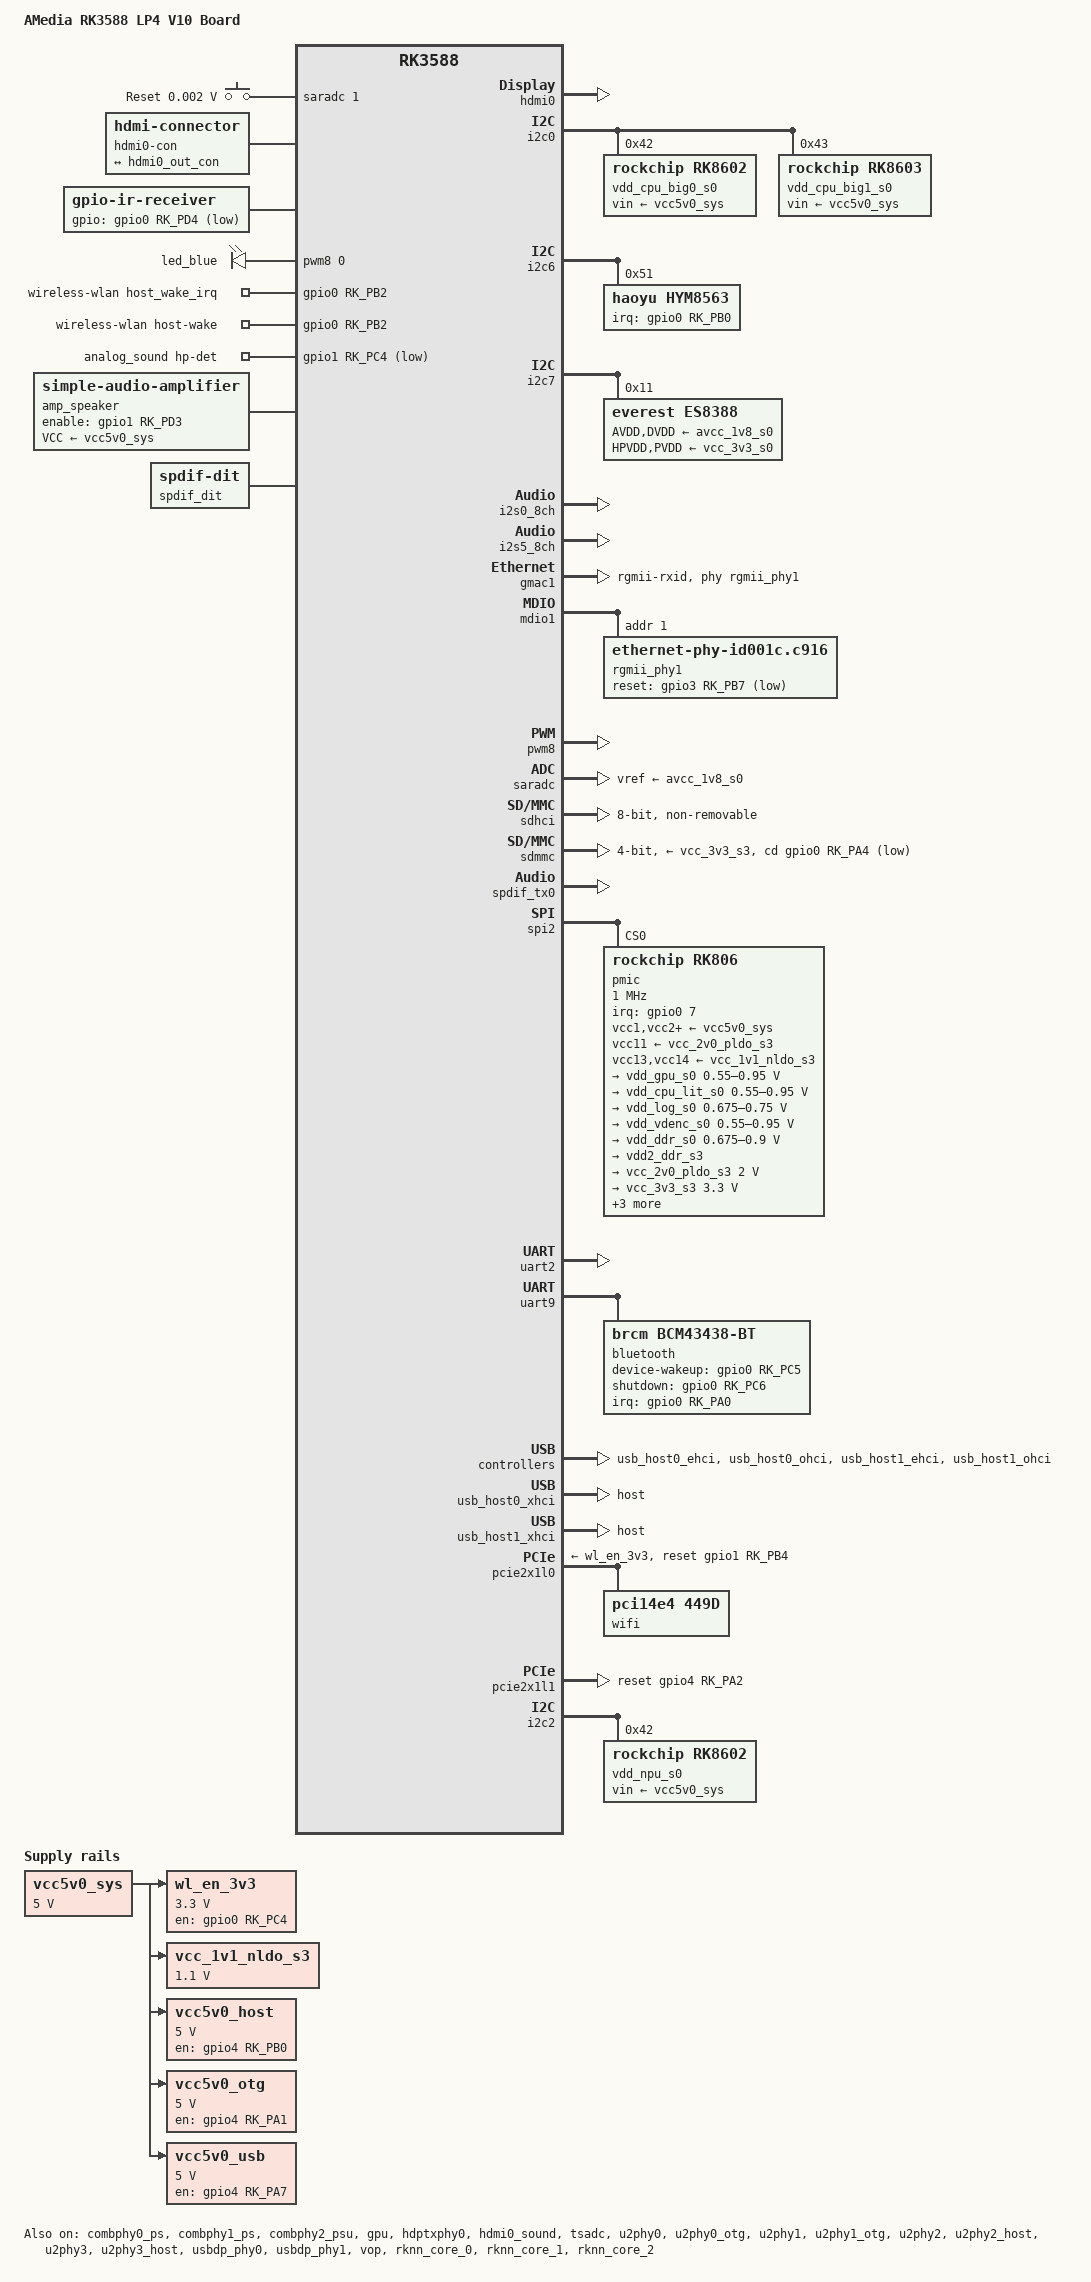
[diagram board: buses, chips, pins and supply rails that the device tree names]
// SPDX-License-Identifier: (GPL-2.0+ OR MIT)

/dts-v1/;

#include <dt-bindings/gpio/gpio.h>
#include <dt-bindings/input/input.h>
#include <dt-bindings/leds/common.h>
#include <dt-bindings/soc/rockchip,vop2.h>
#include "rk3588.dtsi"

/ {
	model = "AMedia RK3588 LP4 V10 Board";
	compatible = "amedia,rk3588-lp4-v10", "rockchip,rk3588";

	aliases {
		ethernet0 = &gmac0;
		ethernet1 = &gmac1;
		mmc0 = &sdhci;
		mmc1 = &sdmmc;
	};

	adc-keys {
		compatible = "adc-keys";
		io-channels = <&saradc 1>;
		io-channel-names = "buttons";
		keyup-threshold-microvolt = <1800000>;
		poll-interval = <100>;

		button-function {
			label = "Reset";
			linux,code = <KEY_VENDOR>;
			press-threshold-microvolt = <1750>;
		};
	};

	chosen {
		bootargs = "earlycon=uart8250,mmio32,0xfeb50000 console=ttyS2,1500000n8 console=tty1 rw rootwait root=PARTUUID=614e0000-0000-4b53-8000-1d28000054a9 cgroup_enable=cpuset cgroup_memory=1 cgroup_enable=memory swapaccount=1 net.ifnames=0";
		stdout-path = "serial2:1500000n8";
	};

	hdmi0-con {
		compatible = "hdmi-connector";
		type = "a";

		port {
			hdmi0_con_in: endpoint {
				remote-endpoint = <&hdmi0_out_con>;
			};
		};
	};

	ir-receiver {
		compatible = "gpio-ir-receiver";
		gpios = <&gpio0 RK_PD4 GPIO_ACTIVE_LOW>;
		pinctrl-names = "default";
		pinctrl-0 = <&ir_receiver_pin>;
	};

	pwmleds {
		compatible = "pwm-leds";

		pwm_blue {
			label = "led_blue";
			pwms = <&pwm8 0 21000 0>;
			max-brightness = <255>;
			linux,default-trigger = "heartbeat";
		};
	};

	wl_en_3v3: regulator-3v3-wlen {
		compatible = "regulator-fixed";
		enable-active-high;
		gpios = <&gpio0 RK_PC4 GPIO_ACTIVE_HIGH>;
		pinctrl-0 = <&wl_en>;
		pinctrl-names = "default";
		regulator-always-on;
		regulator-boot-on;
		regulator-name = "wl_en_3v3";
		regulator-min-microvolt = <3300000>;
		regulator-max-microvolt = <3300000>;
		startup-delay-us = <200000>;
		vin-supply = <&vcc5v0_sys>;
	};

	vcc_1v1_nldo_s3: regulator-1v1 {
		compatible = "regulator-fixed";
		regulator-name = "vcc_1v1_nldo_s3";
		regulator-always-on;
		regulator-boot-on;
		regulator-min-microvolt = <1100000>;
		regulator-max-microvolt = <1100000>;
		vin-supply = <&vcc5v0_sys>;
	};

	vcc5v0_host: regulator-5v0-host {
		compatible = "regulator-fixed";
		regulator-name = "vcc5v0_host";
		regulator-always-on;
		regulator-boot-on;
		regulator-min-microvolt = <5000000>;
		regulator-max-microvolt = <5000000>;
		enable-active-high;
		gpios = <&gpio4 RK_PB0 GPIO_ACTIVE_HIGH>;
		pinctrl-0 = <&vcc5v0_host_en>;
		pinctrl-names = "default";
		vin-supply = <&vcc5v0_sys>;
	};

	vcc5v0_otg: regulator-5v0-otg {
		compatible = "regulator-fixed";
		regulator-name = "vcc5v0_otg";
		regulator-always-on;
		regulator-boot-on;
		regulator-min-microvolt = <5000000>;
		regulator-max-microvolt = <5000000>;
		enable-active-high;
		gpios = <&gpio4 RK_PA1 GPIO_ACTIVE_HIGH>;
		pinctrl-0 = <&vcc5v0_otg_en>;
		pinctrl-names = "default";
		vin-supply = <&vcc5v0_sys>;
	};

	vcc5v0_usb: regulator-5v0-usb {
		compatible = "regulator-fixed";
		regulator-name = "vcc5v0_usb";
		regulator-always-on;
		regulator-boot-on;
		regulator-min-microvolt = <5000000>;
		regulator-max-microvolt = <5000000>;
		enable-active-high;
		gpios = <&gpio4 RK_PA7 GPIO_ACTIVE_HIGH>;
		pinctrl-0 = <&vcc5v0_usb_en>;
		pinctrl-names = "default";
		vin-supply = <&vcc5v0_sys>;
	};

	/* Consumed by the vendor bcmdhd driver (kernel-extra/); brcmfmac ignores it. */
	wireless-wlan {
		compatible = "wlan-platdata";
		wifi_chip_type = "ap6275p";
		pinctrl-names = "default";
		pinctrl-0 = <&wl_wake_host>;
		WIFI,host_wake_irq = <&gpio0 RK_PB2 GPIO_ACTIVE_HIGH>;
		host-wake-gpios = <&gpio0 RK_PB2 GPIO_ACTIVE_HIGH>;
		status = "okay";
	};

	vcc5v0_sys: regulator-5v0-sys {
		compatible = "regulator-fixed";
		regulator-name = "vcc5v0_sys";
		regulator-always-on;
		regulator-boot-on;
		regulator-min-microvolt = <5000000>;
		regulator-max-microvolt = <5000000>;
	};

	analog_sound: analog-sound {
		compatible = "simple-audio-card";
		pinctrl-names = "default";
		pinctrl-0 = <&hp_det>;
		simple-audio-card,name = "rockchip-es8388";
		simple-audio-card,aux-devs = <&amp_speaker>;
		simple-audio-card,format = "i2s";
		simple-audio-card,hp-det-gpios = <&gpio1 RK_PC4 GPIO_ACTIVE_LOW>;
		simple-audio-card,mclk-fs = <256>;
		simple-audio-card,pin-switches = "Headphones", "Speaker";
		simple-audio-card,routing =
			"Speaker Amplifier INL", "LOUT2",
			"Speaker Amplifier INR", "ROUT2",
			"Speaker", "Speaker Amplifier OUTL",
			"Speaker", "Speaker Amplifier OUTR",
			"Headphones", "LOUT1",
			"Headphones", "ROUT1",
			"LINPUT1", "Onboard Microphone",
			"LINPUT2", "Onboard Microphone",
			"RINPUT1", "Microphone Jack",
			"RINPUT2", "Microphone Jack";
		simple-audio-card,widgets =
			"Microphone", "Onboard Microphone",
			"Microphone", "Microphone Jack",
			"Headphone", "Headphones",
			"Speaker", "Speaker";

		simple-audio-card,cpu {
			sound-dai = <&i2s0_8ch>;
		};

		simple-audio-card,codec {
			sound-dai = <&es8388>;
			system-clock-frequency = <12288000>;
		};
	};

	amp_speaker: speaker-amplifier {
		compatible = "simple-audio-amplifier";
		enable-gpios = <&gpio1 RK_PD3 GPIO_ACTIVE_HIGH>;
		pinctrl-names = "default";
		pinctrl-0 = <&spk_con>;
		sound-name-prefix = "Speaker Amplifier";
		VCC-supply = <&vcc5v0_sys>;
	};

	spdif_dit: spdif-dit {
		compatible = "linux,spdif-dit";
		#sound-dai-cells = <0>;
	};

	spdif_sound: spdif-sound {
		compatible = "simple-audio-card";
		simple-audio-card,name = "SPDIF";

		simple-audio-card,cpu {
			sound-dai = <&spdif_tx0>;
		};

		simple-audio-card,codec {
			sound-dai = <&spdif_dit>;
		};
	};
};

&combphy0_ps {
	status = "okay";
};

&combphy1_ps {
	status = "okay";
};

&combphy2_psu {
	status = "okay";
};

&cpu_b0 {
	cpu-supply = <&vdd_cpu_big0_s0>;
};

&cpu_b1 {
	cpu-supply = <&vdd_cpu_big0_s0>;
};

&cpu_b2 {
	cpu-supply = <&vdd_cpu_big1_s0>;
};

&cpu_b3 {
	cpu-supply = <&vdd_cpu_big1_s0>;
};

&cpu_l0 {
	cpu-supply = <&vdd_cpu_lit_s0>;
};

&cpu_l1 {
	cpu-supply = <&vdd_cpu_lit_s0>;
};

&cpu_l2 {
	cpu-supply = <&vdd_cpu_lit_s0>;
};

&cpu_l3 {
	cpu-supply = <&vdd_cpu_lit_s0>;
};

&gpu {
	mali-supply = <&vdd_gpu_s0>;
	status = "okay";
};

&hdmi0 {
	status = "okay";
};

&hdmi0_in {
	hdmi0_in_vp0: endpoint {
		remote-endpoint = <&vp0_out_hdmi0>;
	};
};

&hdmi0_out {
	hdmi0_out_con: endpoint {
		remote-endpoint = <&hdmi0_con_in>;
	};
};

&hdptxphy0 {
	status = "okay";
};

&i2c0 {
	pinctrl-names = "default";
	pinctrl-0 = <&i2c0m2_xfer>;
	status = "okay";

	vdd_cpu_big0_s0: regulator@42 {
		compatible = "rockchip,rk8602";
		reg = <0x42>;
		fcs,suspend-voltage-selector = <1>;
		regulator-name = "vdd_cpu_big0_s0";
		regulator-always-on;
		regulator-boot-on;
		regulator-min-microvolt = <550000>;
		regulator-max-microvolt = <1050000>;
		regulator-ramp-delay = <2300>;
		vin-supply = <&vcc5v0_sys>;

		regulator-state-mem {
			regulator-off-in-suspend;
		};
	};

	vdd_cpu_big1_s0: regulator@43 {
		compatible = "rockchip,rk8603", "rockchip,rk8602";
		reg = <0x43>;
		fcs,suspend-voltage-selector = <1>;
		regulator-name = "vdd_cpu_big1_s0";
		regulator-always-on;
		regulator-boot-on;
		regulator-min-microvolt = <550000>;
		regulator-max-microvolt = <1050000>;
		regulator-ramp-delay = <2300>;
		vin-supply = <&vcc5v0_sys>;

		regulator-state-mem {
			regulator-off-in-suspend;
		};
	};
};

&i2c6 {
	status = "okay";

	hym8563: rtc@51 {
		compatible = "haoyu,hym8563";
		reg = <0x51>;
		#clock-cells = <0>;
		clock-output-names = "hym8563";
		pinctrl-names = "default";
		pinctrl-0 = <&hym8563_int>;
		interrupt-parent = <&gpio0>;
		interrupts = <RK_PB0 IRQ_TYPE_LEVEL_LOW>;
		wakeup-source;
	};
};

&i2c7 {
	pinctrl-names = "default";
	pinctrl-0 = <&i2c7m0_xfer>;
	status = "okay";

	es8388: audio-codec@11 {
		compatible = "everest,es8388", "everest,es8328";
		reg = <0x11>;
		clocks = <&cru I2S0_8CH_MCLKOUT>;
		assigned-clocks = <&cru I2S0_8CH_MCLKOUT>;
		assigned-clock-rates = <12288000>;
		AVDD-supply = <&avcc_1v8_s0>;
		DVDD-supply = <&avcc_1v8_s0>;
		HPVDD-supply = <&vcc_3v3_s0>;
		PVDD-supply = <&vcc_3v3_s0>;
		#sound-dai-cells = <0>;
	};
};

&i2s0_8ch {
	pinctrl-0 = <&i2s0_lrck &i2s0_mclk &i2s0_sclk &i2s0_sdi0 &i2s0_sdo0>;
	rockchip,trcm-sync-tx-only;
	status = "okay";
};

&i2s5_8ch {
	status = "okay";
};

&hdmi0_sound {
	status = "okay";
};

&gmac0 {
	status = "disabled";
};

&mdio0 {
	status = "disabled";
};

&gmac1 {
	clock_in_out = "output";
	phy-handle = <&rgmii_phy1>;
	phy-mode = "rgmii-rxid";
	pinctrl-0 = <&gmac1_miim
		     &gmac1_tx_bus2
		     &gmac1_rx_bus2
		     &gmac1_rgmii_clk
		     &gmac1_rgmii_bus>;
	pinctrl-names = "default";
	tx_delay = <0x42>;
	status = "okay";
};

&mdio1 {
	rgmii_phy1: ethernet-phy@1 {
		compatible = "ethernet-phy-id001c.c916", "ethernet-phy-ieee802.3-c22";
		reg = <0x1>;
		pinctrl-names = "default";
		pinctrl-0 = <&rtl8211f_1_rst>;
		reset-assert-us = <20000>;
		reset-deassert-us = <100000>;
		reset-gpios = <&gpio3 RK_PB7 GPIO_ACTIVE_LOW>;
	};
};

&pd_gpu {
	domain-supply = <&vdd_gpu_s0>;
};

&pinctrl {
	audio {
		hp_det: hp-det {
			rockchip,pins = <1 RK_PC4 RK_FUNC_GPIO &pcfg_pull_up>;
		};

		spk_con: spk-con {
			rockchip,pins = <1 RK_PD3 RK_FUNC_GPIO &pcfg_pull_none>;
		};
	};

	hym8563 {
		hym8563_int: hym8563-int {
			rockchip,pins = <0 RK_PD3 RK_FUNC_GPIO &pcfg_pull_none>;
		};
	};

	ir-receiver {
		ir_receiver_pin: ir-receiver-pin {
			rockchip,pins = <0 RK_PD4 RK_FUNC_GPIO &pcfg_pull_none>;
		};
	};

	rtl8211f {
		rtl8211f_0_rst: rtl8211f-0-rst {
			rockchip,pins = <4 RK_PB3 RK_FUNC_GPIO &pcfg_pull_none>;
		};

		rtl8211f_1_rst: rtl8211f-1-rst {
			rockchip,pins = <3 RK_PB7 RK_FUNC_GPIO &pcfg_pull_none>;
		};
	};

	usb {
		vcc5v0_host_en: vcc5v0-host-en {
			rockchip,pins = <4 RK_PB0 RK_FUNC_GPIO &pcfg_pull_none>;
		};

		vcc5v0_otg_en: vcc5v0-otg-en {
			rockchip,pins = <4 RK_PA1 RK_FUNC_GPIO &pcfg_pull_none>;
		};

		vcc5v0_usb_en: vcc5v0-usb-en {
			rockchip,pins = <4 RK_PA7 RK_FUNC_GPIO &pcfg_pull_none>;
		};
	};

	wifibt {
		wl_en: wl-en {
			rockchip,pins = <0 RK_PC4 RK_FUNC_GPIO &pcfg_pull_none>;
		};

		wl_wake_host: wl-wake-host {
			rockchip,pins = <0 RK_PB2 RK_FUNC_GPIO &pcfg_pull_down>;
		};

		bt_en: bt-en {
			rockchip,pins = <0 RK_PC6 RK_FUNC_GPIO &pcfg_pull_none>;
		};

		bt_wake: bt-wake {
			rockchip,pins = <0 RK_PC5 RK_FUNC_GPIO &pcfg_pull_none>;
		};

		bt_wake_host: bt-wake-host {
			rockchip,pins = <0 RK_PA0 RK_FUNC_GPIO &pcfg_pull_down>;
		};
	};
};

&pwm8 {
	pinctrl-0 = <&pwm8m2_pins>;
	pinctrl-names = "default";
	status = "okay";
};

&saradc {
	vref-supply = <&avcc_1v8_s0>;
	status = "okay";
};

&sdhci {
	bus-width = <8>;
	no-sdio;
	no-sd;
	non-removable;
	mmc-hs400-1_8v;
	mmc-hs400-enhanced-strobe;
	status = "okay";
};

&sdmmc {
	bus-width = <4>;
	cap-mmc-highspeed;
	cap-sd-highspeed;
	cd-gpios = <&gpio0 RK_PA4 GPIO_ACTIVE_LOW>;
	disable-wp;
	max-frequency = <200000000>;
	no-mmc;
	no-sdio;
	sd-uhs-sdr104;
	vmmc-supply = <&vcc_3v3_s3>;
	vqmmc-supply = <&vccio_sd_s0>;
	status = "okay";
};

&spdif_tx0 {
	pinctrl-names = "default";
	pinctrl-0 = <&spdif0m1_tx>;
	status = "okay";
};

&spi2 {
	assigned-clocks = <&cru CLK_SPI2>;
	assigned-clock-rates = <200000000>;
	num-cs = <1>;
	pinctrl-names = "default";
	pinctrl-0 = <&spi2m2_cs0 &spi2m2_pins>;
	status = "okay";

	pmic@0 {
		compatible = "rockchip,rk806";
		reg = <0x0>;
		interrupt-parent = <&gpio0>;
		interrupts = <7 IRQ_TYPE_LEVEL_LOW>;
		pinctrl-names = "default";
		pinctrl-0 = <&pmic_pins>, <&rk806_dvs1_null>,
			    <&rk806_dvs2_null>, <&rk806_dvs3_null>;
		spi-max-frequency = <1000000>;
		system-power-controller;

		vcc1-supply = <&vcc5v0_sys>;
		vcc2-supply = <&vcc5v0_sys>;
		vcc3-supply = <&vcc5v0_sys>;
		vcc4-supply = <&vcc5v0_sys>;
		vcc5-supply = <&vcc5v0_sys>;
		vcc6-supply = <&vcc5v0_sys>;
		vcc7-supply = <&vcc5v0_sys>;
		vcc8-supply = <&vcc5v0_sys>;
		vcc9-supply = <&vcc5v0_sys>;
		vcc10-supply = <&vcc5v0_sys>;
		vcc11-supply = <&vcc_2v0_pldo_s3>;
		vcc12-supply = <&vcc5v0_sys>;
		vcc13-supply = <&vcc_1v1_nldo_s3>;
		vcc14-supply = <&vcc_1v1_nldo_s3>;
		vcca-supply = <&vcc5v0_sys>;

		gpio-controller;
		#gpio-cells = <2>;

		rk806_dvs1_null: dvs1-null-pins {
			pins = "gpio_pwrctrl1";
			function = "pin_fun0";
		};

		rk806_dvs2_null: dvs2-null-pins {
			pins = "gpio_pwrctrl2";
			function = "pin_fun0";
		};

		rk806_dvs3_null: dvs3-null-pins {
			pins = "gpio_pwrctrl3";
			function = "pin_fun0";
		};

		regulators {
			vdd_gpu_s0: vdd_gpu_mem_s0: dcdc-reg1 {
				regulator-name = "vdd_gpu_s0";
				regulator-boot-on;
				regulator-min-microvolt = <550000>;
				regulator-max-microvolt = <950000>;
				regulator-ramp-delay = <12500>;
				regulator-enable-ramp-delay = <400>;

				regulator-state-mem {
					regulator-off-in-suspend;
				};
			};

			vdd_cpu_lit_s0: vdd_cpu_lit_mem_s0: dcdc-reg2 {
				regulator-name = "vdd_cpu_lit_s0";
				regulator-always-on;
				regulator-boot-on;
				regulator-min-microvolt = <550000>;
				regulator-max-microvolt = <950000>;
				regulator-ramp-delay = <12500>;

				regulator-state-mem {
					regulator-off-in-suspend;
				};
			};

			vdd_log_s0: dcdc-reg3 {
				regulator-name = "vdd_log_s0";
				regulator-always-on;
				regulator-boot-on;
				regulator-min-microvolt = <675000>;
				regulator-max-microvolt = <750000>;
				regulator-ramp-delay = <12500>;

				regulator-state-mem {
					regulator-off-in-suspend;
					regulator-suspend-microvolt = <750000>;
				};
			};

			vdd_vdenc_s0: vdd_vdenc_mem_s0: dcdc-reg4 {
				regulator-name = "vdd_vdenc_s0";
				regulator-always-on;
				regulator-boot-on;
				regulator-min-microvolt = <550000>;
				regulator-max-microvolt = <950000>;
				regulator-ramp-delay = <12500>;

				regulator-state-mem {
					regulator-off-in-suspend;
				};
			};

			vdd_ddr_s0: dcdc-reg5 {
				regulator-name = "vdd_ddr_s0";
				regulator-always-on;
				regulator-boot-on;
				regulator-min-microvolt = <675000>;
				regulator-max-microvolt = <900000>;
				regulator-ramp-delay = <12500>;

				regulator-state-mem {
					regulator-off-in-suspend;
					regulator-suspend-microvolt = <850000>;
				};
			};

			vdd2_ddr_s3: dcdc-reg6 {
				regulator-name = "vdd2_ddr_s3";
				regulator-always-on;
				regulator-boot-on;

				regulator-state-mem {
					regulator-on-in-suspend;
				};
			};

			vcc_2v0_pldo_s3: dcdc-reg7 {
				regulator-name = "vdd_2v0_pldo_s3";
				regulator-always-on;
				regulator-boot-on;
				regulator-min-microvolt = <2000000>;
				regulator-max-microvolt = <2000000>;
				regulator-ramp-delay = <12500>;

				regulator-state-mem {
					regulator-on-in-suspend;
					regulator-suspend-microvolt = <2000000>;
				};
			};

			vcc_3v3_s3: dcdc-reg8 {
				regulator-name = "vcc_3v3_s3";
				regulator-always-on;
				regulator-boot-on;
				regulator-min-microvolt = <3300000>;
				regulator-max-microvolt = <3300000>;

				regulator-state-mem {
					regulator-on-in-suspend;
					regulator-suspend-microvolt = <3300000>;
				};
			};

			vddq_ddr_s0: dcdc-reg9 {
				regulator-name = "vddq_ddr_s0";
				regulator-always-on;
				regulator-boot-on;

				regulator-state-mem {
					regulator-off-in-suspend;
				};
			};

			vcc_1v8_s3: dcdc-reg10 {
				regulator-name = "vcc_1v8_s3";
				regulator-always-on;
				regulator-boot-on;
				regulator-min-microvolt = <1800000>;
				regulator-max-microvolt = <1800000>;

				regulator-state-mem {
					regulator-on-in-suspend;
					regulator-suspend-microvolt = <1800000>;
				};
			};

			avcc_1v8_s0: pldo-reg1 {
				regulator-name = "avcc_1v8_s0";
				regulator-always-on;
				regulator-boot-on;
				regulator-min-microvolt = <1800000>;
				regulator-max-microvolt = <1800000>;

				regulator-state-mem {
					regulator-off-in-suspend;
				};
			};

			vcc_1v8_s0: pldo-reg2 {
				regulator-name = "vcc_1v8_s0";
				regulator-always-on;
				regulator-boot-on;
				regulator-min-microvolt = <1800000>;
				regulator-max-microvolt = <1800000>;

				regulator-state-mem {
					regulator-off-in-suspend;
					regulator-suspend-microvolt = <1800000>;
				};
			};

			avdd_1v2_s0: pldo-reg3 {
				regulator-name = "avdd_1v2_s0";
				regulator-always-on;
				regulator-boot-on;
				regulator-min-microvolt = <1200000>;
				regulator-max-microvolt = <1200000>;

				regulator-state-mem {
					regulator-off-in-suspend;
				};
			};

			vcc_3v3_s0: pldo-reg4 {
				regulator-name = "vcc_3v3_s0";
				regulator-always-on;
				regulator-boot-on;
				regulator-min-microvolt = <3300000>;
				regulator-max-microvolt = <3300000>;
				regulator-ramp-delay = <12500>;

				regulator-state-mem {
					regulator-off-in-suspend;
				};
			};

			vccio_sd_s0: pldo-reg5 {
				regulator-name = "vccio_sd_s0";
				regulator-always-on;
				regulator-boot-on;
				regulator-min-microvolt = <1800000>;
				regulator-max-microvolt = <3300000>;
				regulator-ramp-delay = <12500>;

				regulator-state-mem {
					regulator-off-in-suspend;
				};
			};

			pldo6_s3: pldo-reg6 {
				regulator-name = "pldo6_s3";
				regulator-always-on;
				regulator-boot-on;
				regulator-min-microvolt = <1800000>;
				regulator-max-microvolt = <1800000>;

				regulator-state-mem {
					regulator-on-in-suspend;
					regulator-suspend-microvolt = <1800000>;
				};
			};

			vdd_0v75_s3: nldo-reg1 {
				regulator-name = "vdd_0v75_s3";
				regulator-always-on;
				regulator-boot-on;
				regulator-min-microvolt = <750000>;
				regulator-max-microvolt = <750000>;

				regulator-state-mem {
					regulator-on-in-suspend;
					regulator-suspend-microvolt = <750000>;
				};
			};

			vdd_ddr_pll_s0: nldo-reg2 {
				regulator-name = "vdd_ddr_pll_s0";
				regulator-always-on;
				regulator-boot-on;
				regulator-min-microvolt = <850000>;
				regulator-max-microvolt = <850000>;

				regulator-state-mem {
					regulator-off-in-suspend;
					regulator-suspend-microvolt = <850000>;
				};
			};

			avdd_0v75_s0: nldo-reg3 {
				regulator-name = "avdd_0v75_s0";
				regulator-always-on;
				regulator-boot-on;
				regulator-min-microvolt = <750000>;
				regulator-max-microvolt = <750000>;

				regulator-state-mem {
					regulator-off-in-suspend;
				};
			};

			vdd_0v85_s0: nldo-reg4 {
				regulator-name = "vdd_0v85_s0";
				regulator-always-on;
				regulator-boot-on;
				regulator-min-microvolt = <850000>;
				regulator-max-microvolt = <850000>;

				regulator-state-mem {
					regulator-off-in-suspend;
				};
			};

			vdd_0v75_s0: nldo-reg5 {
				regulator-name = "vdd_0v75_s0";
				regulator-always-on;
				regulator-boot-on;
				regulator-min-microvolt = <750000>;
				regulator-max-microvolt = <750000>;

				regulator-state-mem {
					regulator-off-in-suspend;
				};
			};
		};
	};
};

&tsadc {
	status = "okay";
};

&u2phy0 {
	status = "okay";
};

&u2phy0_otg {
	phy-supply = <&vcc5v0_host>;
	status = "okay";
};

&u2phy1 {
	status = "okay";
};

&u2phy1_otg {
	phy-supply = <&vcc5v0_host>;
	status = "okay";
};

&u2phy2 {
	status = "okay";
};

&u2phy2_host {
	phy-supply = <&vcc5v0_host>;
	status = "okay";
};

&u2phy3 {
	status = "okay";
};

&u2phy3_host {
	phy-supply = <&vcc5v0_host>;
	status = "okay";
};

&uart2 {
	pinctrl-0 = <&uart2m0_xfer>;
	status = "okay";
};

&uart9 {
	pinctrl-0 = <&uart9m0_xfer &uart9m0_ctsn &uart9m0_rtsn>;
	pinctrl-names = "default";
	uart-has-rtscts;
	status = "okay";

	bluetooth {
		compatible = "brcm,bcm43438-bt";
		clocks = <&hym8563>;
		clock-names = "lpo";
		device-wakeup-gpios = <&gpio0 RK_PC5 GPIO_ACTIVE_HIGH>;
		interrupt-parent = <&gpio0>;
		interrupts = <RK_PA0 IRQ_TYPE_EDGE_FALLING>;
		pinctrl-0 = <&bt_en>, <&bt_wake_host>, <&bt_wake>;
		pinctrl-names = "default";
		shutdown-gpios = <&gpio0 RK_PC6 GPIO_ACTIVE_HIGH>;
	};
};

&usbdp_phy0 {
	status = "okay";
};

&usbdp_phy1 {
	status = "okay";
};

&usb_host0_ehci {
	status = "okay";
};

&usb_host0_ohci {
	status = "okay";
};

&usb_host0_xhci {
	dr_mode = "host";
	status = "okay";
};

&usb_host1_ehci {
	status = "okay";
};

&usb_host1_ohci {
	status = "okay";
};

&usb_host1_xhci {
	dr_mode = "host";
	status = "okay";
};

&usb_host2_xhci {
	status = "disabled";
};

&vop_mmu {
	status = "okay";
};

&vop {
	status = "okay";
};

&vp0 {
	vp0_out_hdmi0: endpoint@ROCKCHIP_VOP2_EP_HDMI0 {
		reg = <ROCKCHIP_VOP2_EP_HDMI0>;
		remote-endpoint = <&hdmi0_in_vp0>;
	};
};

/* Broadcom BCM43752 / AP6275P Wi-Fi 6 on PCIe x1 */
&pcie2x1l0 {
	reset-gpios = <&gpio1 RK_PB4 GPIO_ACTIVE_HIGH>;
	vpcie3v3-supply = <&wl_en_3v3>;
	status = "okay";

	pcie@0,0 {
		reg = <0x200000 0 0 0 0>;
		#address-cells = <3>;
		#size-cells = <2>;
		ranges;
		device_type = "pci";
		bus-range = <0x20 0x2f>;

		wifi: wifi@0,0 {
			compatible = "pci14e4,449d";
			reg = <0x210000 0 0 0 0>;
			clocks = <&hym8563>;
			clock-names = "lpo";
		};
	};
};

/* Realtek RTL8168 Gigabit Ethernet on PCIe x1 */
&pcie2x1l1 {
	reset-gpios = <&gpio4 RK_PA2 GPIO_ACTIVE_HIGH>;
	status = "okay";
};

/* NPU PMIC on I2C2 */
&i2c2 {
	pinctrl-names = "default";
	pinctrl-0 = <&i2c2m0_xfer>;
	status = "okay";

	vdd_npu_s0: regulator@42 {
		compatible = "rockchip,rk8602";
		reg = <0x42>;
		fcs,suspend-voltage-selector = <1>;
		regulator-name = "vdd_npu_s0";
		regulator-always-on;
		regulator-boot-on;
		regulator-min-microvolt = <550000>;
		regulator-max-microvolt = <950000>;
		regulator-ramp-delay = <2300>;
		vin-supply = <&vcc5v0_sys>;

		regulator-state-mem {
			regulator-off-in-suspend;
		};
	};
};

/* Rockchip 3-core 6.0 TOPS NPU (accel/rocket) */
&rknn_core_0 {
	npu-supply = <&vdd_npu_s0>;
	sram-supply = <&vdd_npu_s0>;
	status = "okay";
};

&rknn_core_1 {
	npu-supply = <&vdd_npu_s0>;
	sram-supply = <&vdd_npu_s0>;
	status = "okay";
};

&rknn_core_2 {
	npu-supply = <&vdd_npu_s0>;
	sram-supply = <&vdd_npu_s0>;
	status = "okay";
};

&rknn_mmu_0 {
	status = "okay";
};

&rknn_mmu_1 {
	status = "okay";
};

&rknn_mmu_2 {
	status = "okay";
};

